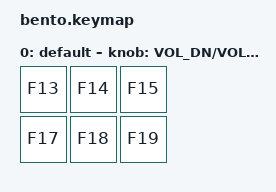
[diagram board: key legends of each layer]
/*
 * Copyright (c) 2021 Dan Thomas
 *
 * SPDX-License-Identifier: MIT
 */

#include <behaviors.dtsi>
#include <dt-bindings/zmk/keys.h>
#include <dt-bindings/zmk/bt.h>

#define TIMEOUT 300

&encoder_1 {
    status = "okay";
};


/ {

    combos {
    compatible = "zmk,combos";
    combo_btclr {
        timeout-ms = <TIMEOUT>;
        key-positions = <1 2>;
        bindings = <&bt BT_CLR>;
    };
    combo_reset {
        timeout-ms = <TIMEOUT>;
        key-positions = <1 3>;
        bindings = <&sys_reset>;
    };
    combo_bootloader {
        timeout-ms = <TIMEOUT>;
        key-positions = <1 4>;
        bindings = <&bootloader>;
    };
    combo_bt_nxt {
        timeout-ms = <TIMEOUT>;
        key-positions = <1 5>;
        bindings = <&bt BT_NXT>;
    };
};

    sensors {
        compatible = "zmk,keymap-sensors";
        sensors = <&encoder_1>;
    };


    keymap {
        compatible = "zmk,keymap";

        default {
           bindings = <
                &kp F13 &kp F14 &kp F15
                &kp F17 &kp F18 &kp F19
            >;
        sensor-bindings = <&inc_dec_kp C_VOL_DN C_VOL_UP>;
        };
	};
};
